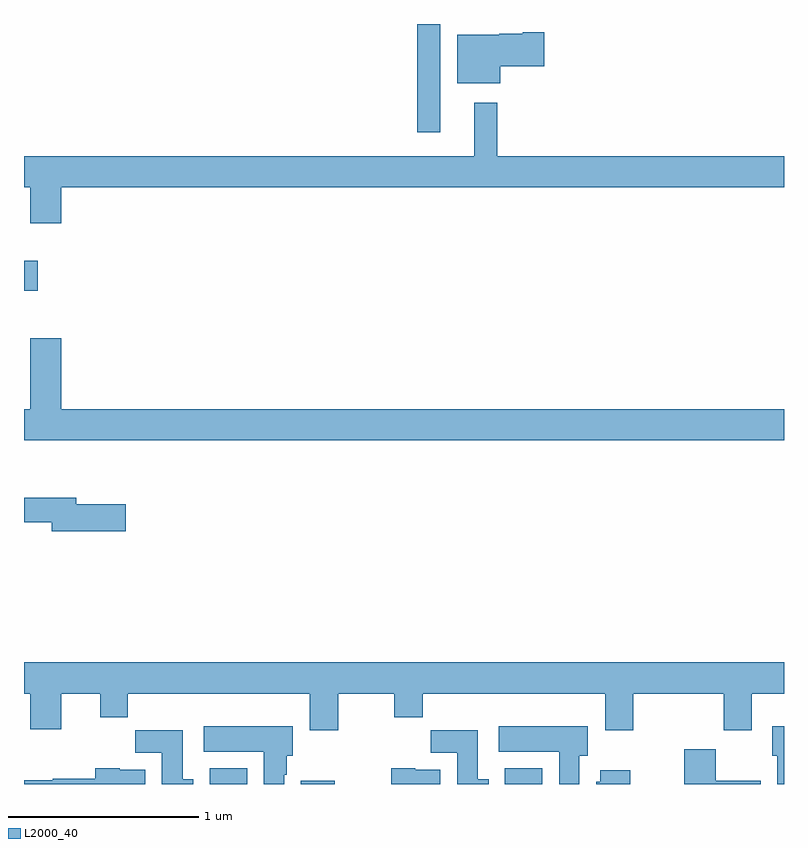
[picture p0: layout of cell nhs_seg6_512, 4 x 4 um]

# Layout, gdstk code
import gdstk
lib = gdstk.Library(unit=1e-6, precision=1e-09)
def R(c, l, rs):  # rectangles x0, y0, x1, y1
    for r in rs: c.add(gdstk.rectangle(r[:2], r[2:], *l))
def P(c, l, *ps):  # polygons
    for p in ps: c.add(gdstk.Polygon(p, *l))
L2000_40 = (2000, 40)

nhs_seg6_512 = lib.new_cell('nhs_seg6_512')
R(nhs_seg6_512, L2000_40, [(141.977,973.5,142.174,973.582), (142.457,973.5,142.636,973.516), (143.531,973.5,143.727,973.582), (141,976.097,141.073,976.255), (143.07,976.929,143.191,977.5)])
P(nhs_seg6_512, L2000_40, [(143.506,977.278),(143.737,977.278),(143.737,977.456),(143.624,977.456),(143.624,977.449),(143.502,977.449),(143.502,977.443),(143.279,977.443),(143.279,977.189),(143.506,977.189)],
  [(141.196,976.64),(145,976.64),(145,976.804),(143.491,976.804),(143.491,977.086),(143.369,977.086),(143.369,976.804),(141,976.804),(141,976.64),(141.032,976.64),(141.032,976.452),(141.196,976.452)],
  [(145,975.472),(141.196,975.472),(141.196,975.847),(141.032,975.847),(141.032,975.472),(141,975.472),(141,975.308),(145,975.308)],
  [(141.535,974.973),(141.274,974.973),(141.274,975.007),(141,975.007),(141,974.878),(141.146,974.878),(141.146,974.831),(141.535,974.831)],
  [(142.653,973.976),(142.948,973.976),(142.948,973.852),(143.099,973.852),(143.099,973.976),(144.059,973.976),(144.059,973.782),(144.207,973.782),(144.207,973.976),(144.682,973.976),(144.682,973.782),(144.829,973.782),(144.829,973.976),(145,973.976),(145,974.14),(141,974.14),(141,973.976),(141.032,973.976),(141.032,973.788),(141.196,973.788),(141.196,973.976),(141.401,973.976),(141.401,973.852),(141.545,973.852),(141.545,973.976),(142.505,973.976),(142.505,973.782),(142.653,973.782)],
  [(142.369,973.55),(142.384,973.55),(142.384,973.65),(142.414,973.65),(142.414,973.804),(141.945,973.804),(141.945,973.67),(142.262,973.67),(142.262,973.5),(142.369,973.5)],
  [(143.923,973.65),(143.968,973.65),(143.968,973.804),(143.499,973.804),(143.499,973.67),(143.816,973.67),(143.816,973.5),(143.923,973.5)],
  [(145,973.804),(144.938,973.804),(144.938,973.65),(144.965,973.65),(144.965,973.5),(145,973.5)],
  [(141.892,973.524),(141.835,973.524),(141.835,973.783),(141.586,973.783),(141.586,973.664),(141.725,973.664),(141.725,973.5),(141.892,973.5)],
  [(143.446,973.524),(143.389,973.524),(143.389,973.783),(143.14,973.783),(143.14,973.664),(143.279,973.664),(143.279,973.5),(143.446,973.5)],
  [(144.877,973.516),(144.642,973.516),(144.642,973.684),(144.476,973.684),(144.476,973.5),(144.877,973.5)],
  [(143.191,973.576),(143.058,973.576),(143.058,973.582),(142.933,973.582),(142.933,973.5),(143.191,973.5)],
  [(141.637,973.576),(141.504,973.576),(141.504,973.582),(141.374,973.582),(141.374,973.528),(141.15,973.528),(141.15,973.52),(141,973.52),(141,973.5),(141.637,973.5)],
  [(144.19,973.573),(144.032,973.573),(144.032,973.512),(144.011,973.512),(144.011,973.5),(144.19,973.5)])

lib.write_gds('nhs_seg6_512.gds')
